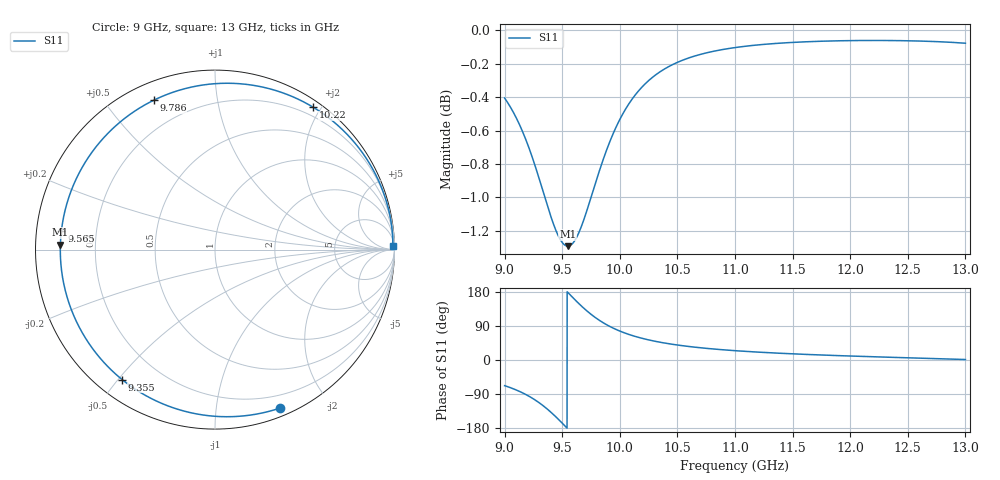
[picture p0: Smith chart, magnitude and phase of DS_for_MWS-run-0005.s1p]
! TOUCHSTONE file generated by CST DESIGN STUDIO
! Date and time: Tue Feb  4 17:15:58 2025
! Project name: C:\Work\MatlabApps\UnitCellOptimizationMatlab\CST\unitcell.cst
! Tree item: Tasks\Sweep1\SPara1\S-Parameters
! Header version: 2024
! Port assignment regex: !\s*Touchstone port\s*([0-9]+)\s*=\s*(CST MWS port|CST DES external port|CST DES block port)\s*(.+)\s* \(\"(.*)\"\)(\s*mode\s*([0-9]+))?.*
! Touchstone port assignment:
! Touchstone port 1 = CST DES external port 1 ("")
# GHz S MA R 50
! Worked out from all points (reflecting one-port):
!   4001 points, 9 GHz to 13 GHz, reference 50 ohm
!   lowest |S11| = -1.3 dB at 9.549 GHz (marker M1), VSWR 13.48, Z = 3.71 + j0.82 ohm
!   phase of S11 starts at -68 deg and turns -291 deg over the sweep
!   S11 on the Smith chart (normalised r, x): 9 GHz: 0.08, -1.49; 9.355 GHz: 0.07, -0.51; 9.565 GHz: 0.07, +0.06; 9.786 GHz: 0.08, +0.67; 10.22 GHz: 0.09, +1.90; 13 GHz: 31, +77
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9  0.9544 -67.7
9.036  0.9502 -71.4
9.1  0.9416 -79.0
9.21  0.9225 -95.4
9.286  0.9061 -109.8
9.355  0.89 -125.6
9.424  0.8751 -143.9
9.464  0.8683 -155.6
9.5  0.8641 -166.6
9.549  0.8619 178.1
9.565  0.8621 173.1
9.62  0.8665 156.1
9.681  0.8764 138.4
9.733  0.8874 124.8
9.786  0.8995 112.4
9.832  0.9098 102.8
9.881  0.92 93.8
10  0.9404 76.4
10.103  0.9533 65.0
10.217  0.9635 55.4
10.348  0.9717 47.0
10.5  0.9781 39.5
10.721  0.9839 31.6
11  0.9881 24.6
11.5  0.9916 16.3
12  0.9928 10.5
12.5  0.9927 5.8
13  0.991 1.3
